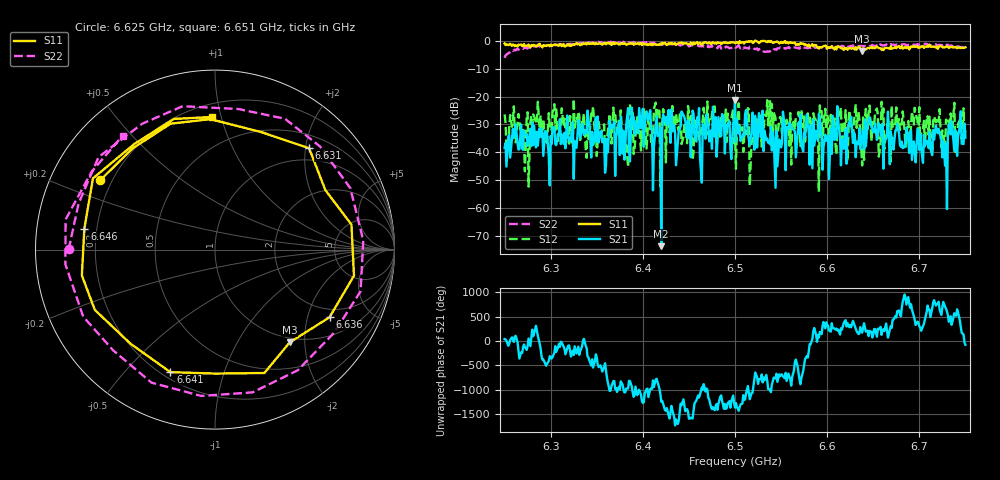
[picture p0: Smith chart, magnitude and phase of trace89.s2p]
# Hz S RI R 50
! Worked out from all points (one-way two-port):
!   401 points, 6.25 GHz to 6.75 GHz, reference 50 ohm
!   highest |S21| = -21.18 dB at 6.5 GHz (marker M1); lowest = -73.8 dB at 6.42 GHz (marker M2)
!   lowest |S11| = -3.6 dB at 6.638 GHz (marker M3), VSWR 4.95, Z = 45.9 - j85 ohm
!   |S11| at or under -10 dB: nowhere
!   |S22| runs from -6.1 to -0.1 dB; largest |S21 - S12| = 0.13
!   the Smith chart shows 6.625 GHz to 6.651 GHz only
!   S11 on the Smith chart (normalised r, x): 6.625 GHz: 0.16, +0.27; 6.631 GHz: 0.75, +2.07; 6.636 GHz: 1.65, -2.76; 6.641 GHz: 0.23, -0.67; 6.646 GHz: 0.15, +0.08; 6.651 GHz: 0.29, +0.94
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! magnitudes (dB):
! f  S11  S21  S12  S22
! 6.25 GHz  -0.9  -38.4  -26.4  -6.1
! 6.334 GHz  -1.2  -31.5  -28.1  -0.9
! 6.36 GHz  -1.2  -44.6  -34.7  -0.9
! 6.405 GHz  -1.4  -26.7  -33.7  -0.9
! 6.418 GHz  -1.4  -33.8  -25.2  -1.4
! 6.42 GHz  -1.2  -73.8  -32.2  -0.9
! 6.425 GHz  -1.3  -27.4  -43.7  -1.3
! 6.465 GHz  -0.8  -29.9  -28.3  -1.4
! 6.5 GHz  -0.8  -21.2  -33.2  -2.3
! 6.584 GHz  -1.2  -45.8  -31.3  -2.3
! 6.625 GHz  -2.5  -30.4  -29.6  -1.8
! 6.631 GHz  -2.3  -41.8  -22.8  -2.0
! 6.636 GHz  -2.6  -38.9  -32.8  -1.6
! 6.638 GHz  -3.6  -34.0  -44.8  -1.5
! 6.641 GHz  -2.8  -28.2  -27.4  -1.7
! 6.646 GHz  -2.6  -27.5  -23.2  -1.7
! 6.651 GHz  -2.6  -32.8  -30.5  -1.8
! 6.668 GHz  -2.8  -44.3  -35.3  -1.5
! 6.72 GHz  -2.8  -33.2  -27.5  -1.6
! 6.728 GHz  -2.3  -44.8  -38.7  -1.9
! 6.734 GHz  -2.1  -33.6  -26.1  -1.7
! 6.75 GHz  -2.3  -34.7  -32.0  -2.3
